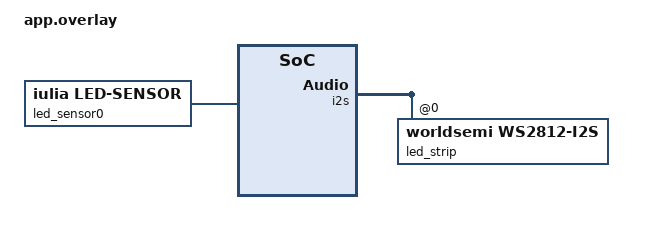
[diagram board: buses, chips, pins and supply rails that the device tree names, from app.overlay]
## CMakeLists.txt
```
cmake_minimum_required(VERSION 3.20.0)

list(APPEND EXTRA_ZEPHYR_MODULES
     ${CMAKE_CURRENT_SOURCE_DIR}/../modules/iulia_led_sensor)

find_package(Zephyr REQUIRED HINTS $ENV{ZEPHYR_BASE})

project(l6_led_sensor)

target_sources(app PRIVATE src/main.c)
```

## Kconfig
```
source "Kconfig.zephyr"

config APP_HEARTBEAT_PERIOD_MS
    int "Heartbeat LED period (ms)"
    default 500
    range 100 2000
    help
      Time between heartbeat LED state changes in milliseconds.

menuconfig LED_SUBSYSTEM
    bool "LED Subsystem"
    default y

if LED_SUBSYSTEM

choice
    prompt "LED blink sleep time"
    default BLINK_SLEEP_1000MS

config BLINK_SLEEP_250MS
    bool "250ms (fast)"

config BLINK_SLEEP_500MS
    bool "500ms"

config BLINK_SLEEP_1000MS
    bool "1s (medium)"

config BLINK_SLEEP_2000MS
    bool "2s"

endchoice

config BLINK_SLEEP_TIME_MS
    int
    default 250 if BLINK_SLEEP_250MS
    default 500 if BLINK_SLEEP_500MS
    default 1000 if BLINK_SLEEP_1000MS
    default 2000 if BLINK_SLEEP_2000MS
    default 0


menuconfig LED_ADVANCED
    bool "Advanced LED settings"
    default n

if LED_ADVANCED

config LED_BRIGHTNESS
    int "LED brightness (0-100)"
    range 0 100
    default 100

config LED_FADE_DURATION_MS
    int "LED fade duration (ms)"
    range 0 5000
    default 500


menu "Expert settings"
    visible if LED_ADVANCED

config LED_DEBUG
    bool "Enable LED debugging"
    default n

config CUSTOM_BLINK_PATTERN
    bool "Custom blink pattern"
    default n

endmenu

endif # LED_ADVANCED

endif # LED_SUBSYSTEM
```

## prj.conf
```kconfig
#CONFIG_CPP=y
#CONFIG_LOG=y
#CONFIG_LED_STRIP=y
#CONFIG_LED_STRIP_LOG_LEVEL_DBG=y

CONFIG_SENSOR=y
CONFIG_LED_STRIP=y
CONFIG_I2S=y
CONFIG_WS2812_STRIP_I2S=y
CONFIG_LOG=y

CONFIG_FLASH_SIZE=4096
CONFIG_ESPTOOLPY_FLASHMODE_DIO=y
CONFIG_ESPTOOLPY_FLASHFREQ_40M=y
CONFIG_ESPTOOLPY_FLASHSIZE_4MB=y
```

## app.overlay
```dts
/*
 * Copyright (c) 2026 Espressif Systems (Shanghai) Co., Ltd.
 *
 * SPDX-License-Identifier: Apache-2.0
 */

#include <zephyr/dt-bindings/led/led.h>

/ {
	aliases {
		led-strip = &led_strip;
		// led0 = &led_strip;
		// led0 used for heartbeat demo; ESP32-C5 has one
		// addressable LED controlled through a single data line
		app-led = &led_strip;
	};

	led_sensor0: led_sensor {
		compatible = "iulia,led-sensor";
		led-strip = <&led_strip>;
		status = "okay";
	};
};

&i2s_default {
	group1 {
		pinmux = <I2S_O_SD_GPIO27>;
	};
};

i2s_led: &i2s {
	status = "okay";

	dmas = <&dma 3>;
	dma-names = "tx";

	led_strip: ws2812@0 {
		compatible = "worldsemi,ws2812-i2s";

		reg = <0>;
		chain-length = <1>;
		color-mapping = <LED_COLOR_ID_GREEN
				 LED_COLOR_ID_RED
				 LED_COLOR_ID_BLUE>;
		reset-delay = <500>;
	};
};

&dma {
	status = "okay";
};
```

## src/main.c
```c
#include <zephyr/device.h>
#include <zephyr/drivers/sensor.h>
#include <zephyr/kernel.h>
#include <zephyr/sys/printk.h>
#include <iulia_drivers/iulia_led_sensor.h>

int main(void)
{
    const struct device *dev =
        DEVICE_DT_GET_ANY(iulia_led_sensor);

    if (dev == NULL) {
        printk("LED sensor device not found\n");
        return 0;
    }

    if (!device_is_ready(dev)) {
        printk("LED sensor device is not ready\n");
        return 0;
    }

    printk("Iulia LED sensor ready\n");

    struct sensor_value value;

    while (1) {
    printk("Setting brightness to 20\n");

    iulia_led_sensor_set_brightness(dev, 20);

    int ret = sensor_sample_fetch(dev);

    if (ret < 0) {
        printk("sample_fetch error: %d\n", ret);
    } else {
        printk("sensor_sample_fetch -> LED ON, brightness = 20\n");
    }

    k_sleep(K_SECONDS(3));

    ret = sensor_channel_get(dev,
                             SENSOR_CHAN_ALL,
                             &value);

    if (ret < 0) {
        printk("channel_get error: %d\n", ret);
    } else {
        printk("sensor_channel_get -> LED OFF\n");
    }

    k_sleep(K_SECONDS(3));


    printk("Setting brightness to 150\n");

    iulia_led_sensor_set_brightness(dev, 150);

    ret = sensor_sample_fetch(dev);

    if (ret < 0) {
        printk("sample_fetch error: %d\n", ret);
    } else {
        printk("sensor_sample_fetch -> LED ON, brightness = 150\n");
    }

    k_sleep(K_SECONDS(3));

    ret = sensor_channel_get(dev,
                             SENSOR_CHAN_ALL,
                             &value);

    if (ret < 0) {
        printk("channel_get error: %d\n", ret);
    } else {
        printk("sensor_channel_get -> LED OFF\n");
    }

    k_sleep(K_SECONDS(3));
}

    return 0;
}
```

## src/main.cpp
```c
#include <zephyr/kernel.h>
#include <zephyr/device.h>
#include <zephyr/drivers/led_strip.h>
#include <zephyr/logging/log.h>

//#define SLEEP_TIME_MS CONFIG_BLINK_SLEEP_TIME_MS
#define SLEEP_TIME_MS CONFIG_APP_HEARTBEAT_PERIOD_MS
//#define STRIP_NODE DT_ALIAS(led_strip)
#define STRIP_NODE DT_ALIAS(app_led)
//#define STRIP_NODE DT_ALIAS(led0)

LOG_MODULE_REGISTER(main, LOG_LEVEL_INF);

static const struct device *const strip = DEVICE_DT_GET(STRIP_NODE);

int main(void)
{
    struct led_rgb pixel = {0};
    bool led_on = false;

    if (!device_is_ready(strip)) {
        LOG_ERR("LED strip device is not ready");
        return 0;
    }

    LOG_INF("LED blink started");

    while (1) {
        led_on = !led_on;

        if (led_on) {
            pixel.r = 0;
            pixel.g = 0;
            pixel.b = 32;
        } else {
            pixel.r = 0;
            pixel.g = 0;
            pixel.b = 0;
        }

        int ret = led_strip_update_rgb(strip, &pixel, 1);

        if (ret < 0) {
            LOG_ERR("Failed to update LED: %d", ret);
        }

        LOG_INF("LED state: %s", led_on ? "ON" : "OFF");

        k_msleep(SLEEP_TIME_MS);
    }

    return 0;
}
```
